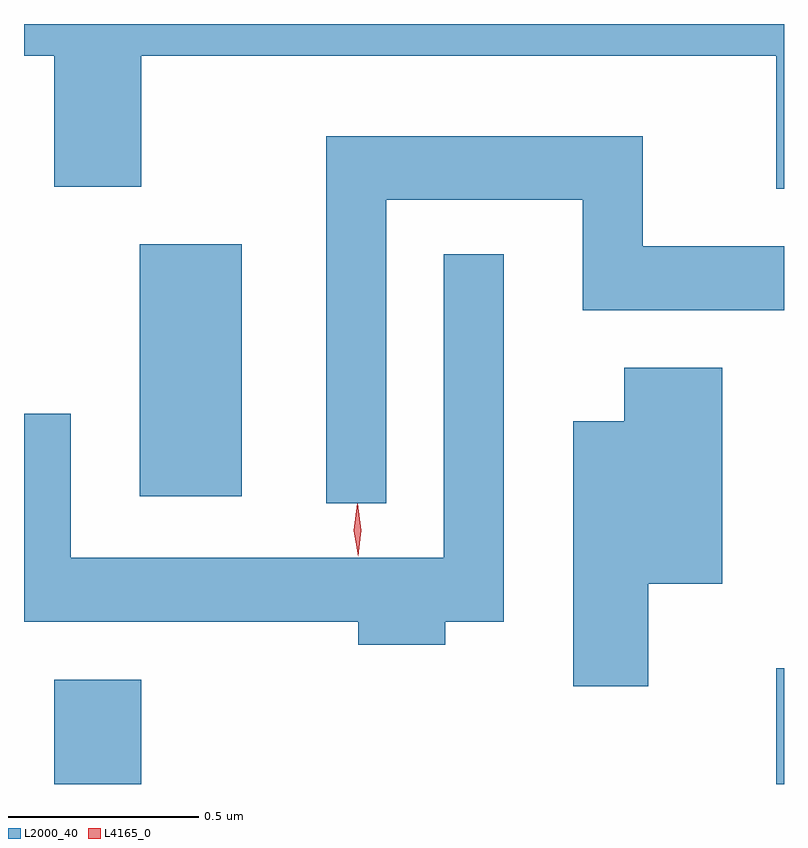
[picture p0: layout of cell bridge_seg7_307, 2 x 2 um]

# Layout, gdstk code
import gdstk
lib = gdstk.Library(unit=1e-6, precision=1e-09)
def R(c, l, rs):  # rectangles x0, y0, x1, y1
    for r in rs: c.add(gdstk.rectangle(r[:2], r[2:], *l))
def P(c, l, *ps):  # polygons
    for p in ps: c.add(gdstk.Polygon(p, *l))
L2000_40 = (2000, 40)
L4165_0 = (4165, 0)

bridge_seg7_307 = lib.new_cell('bridge_seg7_307')
R(bridge_seg7_307, L2000_40, [(1318.011,1796.759,1318.239,1797.034), (1319.911,1796.759,1319.931,1797.064), (1318.236,1797.516,1318.504,1798.179)])
P(bridge_seg7_307, L2000_40, [(1319.931,1798.759),(1317.931,1798.759),(1317.931,1798.676),(1318.011,1798.676),(1318.011,1798.331),(1318.239,1798.331),(1318.239,1798.676),(1319.911,1798.676),(1319.911,1798.326),(1319.931,1798.326)],
  [(1318.884,1798.296),(1319.401,1798.296),(1319.401,1798.006),(1319.931,1798.006),(1319.931,1798.174),(1319.559,1798.174),(1319.559,1798.464),(1318.726,1798.464),(1318.726,1797.498),(1318.884,1797.498)],
  [(1319.039,1797.186),(1319.194,1797.186),(1319.194,1798.153),(1319.036,1798.153),(1319.036,1797.354),(1318.054,1797.354),(1318.054,1797.733),(1317.931,1797.733),(1317.931,1797.186),(1318.811,1797.186),(1318.811,1797.126),(1319.039,1797.126)],
  [(1319.574,1797.286),(1319.769,1797.286),(1319.769,1797.854),(1319.511,1797.854),(1319.511,1797.714),(1319.376,1797.714),(1319.376,1797.016),(1319.574,1797.016)])
P(bridge_seg7_307, L4165_0, [(1318.81,1797.358),(1318.81,1797.358),(1318.799,1797.427),(1318.808,1797.496),(1318.808,1797.496),(1318.809,1797.496),(1318.819,1797.427),(1318.811,1797.358)],
  [(1318.81,1797.36),(1318.81,1797.36),(1318.799,1797.426),(1318.808,1797.493),(1318.808,1797.493),(1318.809,1797.493),(1318.819,1797.427),(1318.811,1797.36)])

lib.write_gds('bridge_seg7_307.gds')
